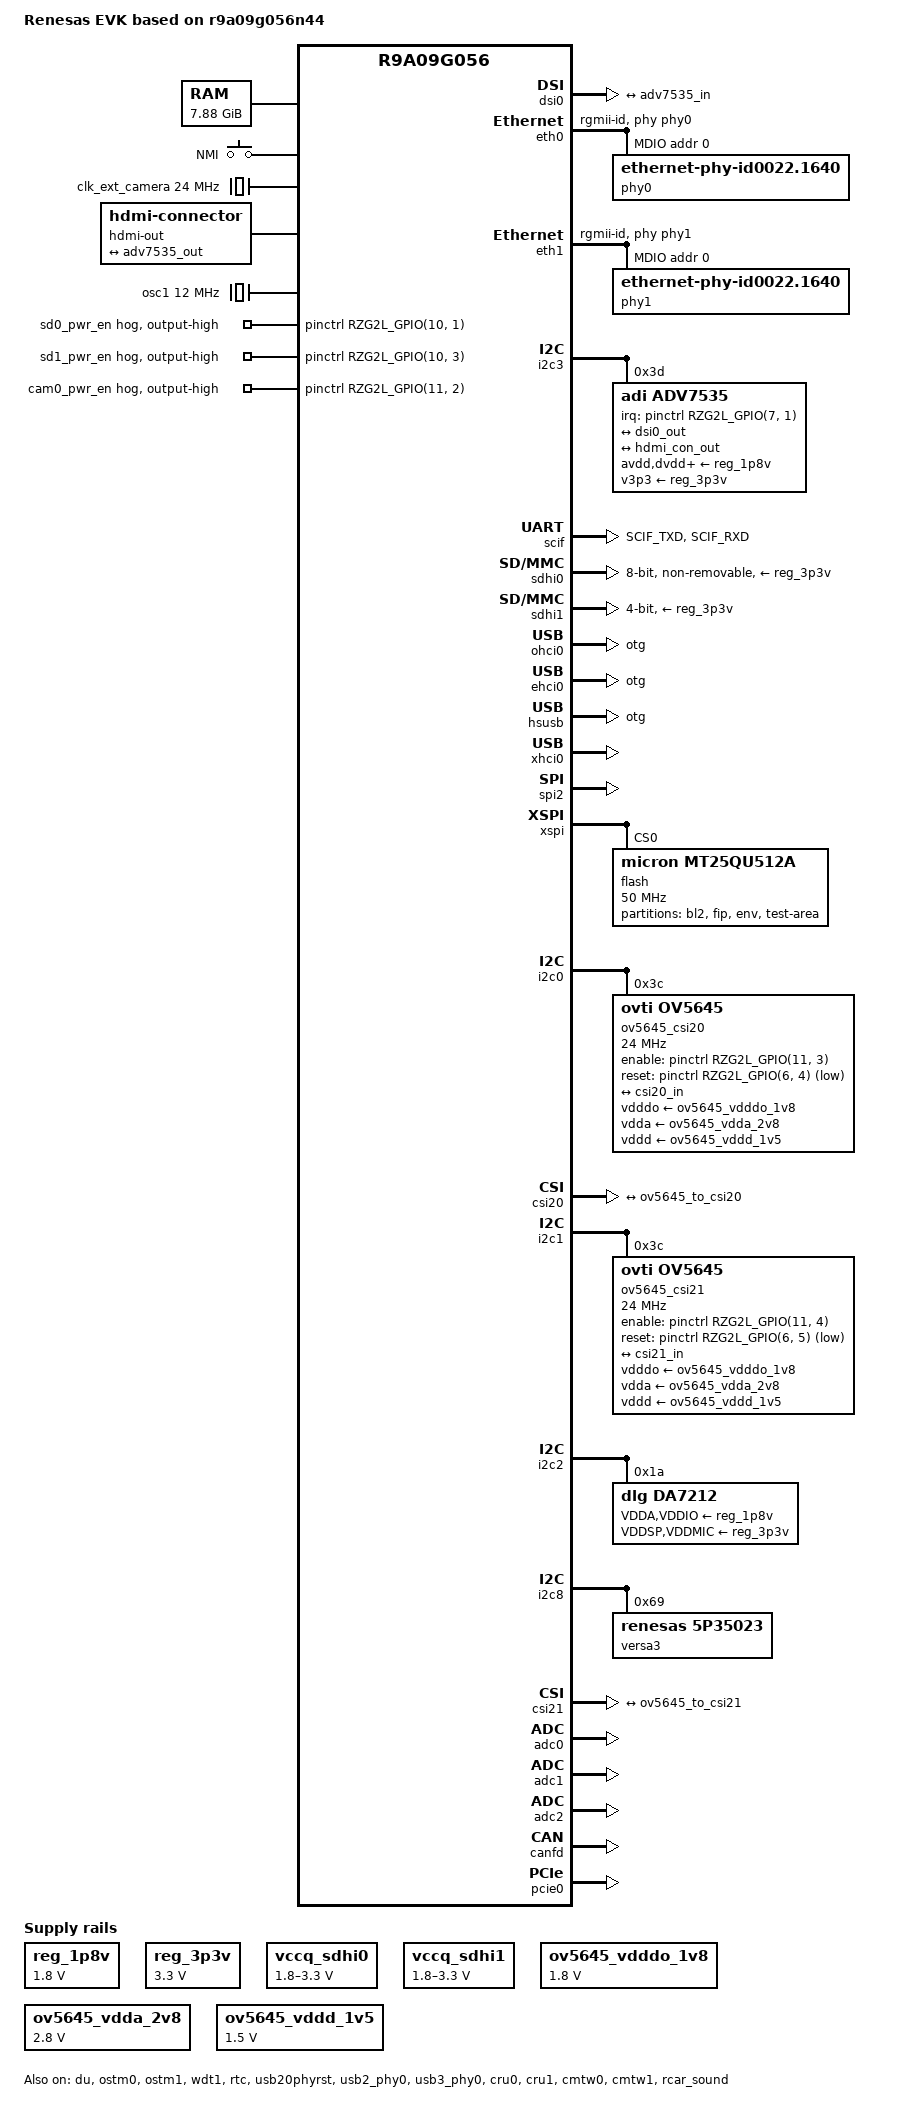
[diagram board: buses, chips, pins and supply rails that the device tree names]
// SPDX-License-Identifier: (GPL-2.0-only OR BSD-2-Clause)
/*
 * Device Tree Source for the RZ/V2N EVK Alpha board
 *
 * Copyright (C) 2024 Renesas Electronics Corp.
 */

/dts-v1/;
#include "r9a09g056.dtsi"
#include <dt-bindings/pinctrl/rzg2l-pinctrl.h>
#include <dt-bindings/gpio/gpio.h>

/*
 * SSI-DA7212
 *
 * These commands are required when Playback/Capture
 *
 *      amixer -q cset name='Aux Switch' on
 *      amixer -q cset name='Mixin Left Aux Left Switch' on
 *      amixer -q cset name='Mixin Right Aux Right Switch' on
 *      amixer -q cset name='ADC Switch' on
 *      amixer -q cset name='Mixout Right Mixin Right Switch' off
 *      amixer -q cset name='Mixout Left Mixin Left Switch' off
 *      amixer -q cset name='Headphone Volume' 70%
 *      amixer -q cset name='Headphone Switch' on
 *      amixer -q cset name='Mixout Left DAC Left Switch' on
 *      amixer -q cset name='Mixout Right DAC Right Switch' on
 *      amixer -q cset name='DAC Left Source MUX' 'DAI Input Left'
 *      amixer -q cset name='DAC Right Source MUX' 'DAI Input Right'
 *      amixer -q sset 'Mic 1 Amp Source MUX' 'MIC_P'
 *      amixer -q sset 'Mic 2 Amp Source MUX' 'MIC_P'
 *      amixer -q sset 'Mixin Left Mic 1' on
 *      amixer -q sset 'Mixin Right Mic 2' on
 *      amixer -q sset 'Mic 1' 90% on
 *      amixer -q sset 'Mic 2' 90% on
 *      amixer -q sset 'Lineout' 80% on
 *      amixer -q set "Headphone" 100% on
 *
 * When Capture, use this command to amplify sound
 *      amixer set 'DVC In',0 100%
 */

/* SD0-eMMC selection
 *
 * CN15 can be connected to SD0 or eMMC sub-board.
 * Please setting the below Macro to the corresponding value depend on
 * the sub-board connected.
 *
 * SEL_SD0: 0: eMMC (default);		1: SD0
 */
#define SEL_SD0		0

/* Select between CAN and SPDIF pins
 * COMMON_PIN_SEL value:
 *	0: CAN		is selected (default)
 *	1: SPDIF	is selected
 */
#define COMMON_PIN_SEL		0
#define CAN_SEL			0
#define SPDIF_SEL		1

/ {
	model = "Renesas EVK based on r9a09g056n44";
	compatible = "renesas,r9a09g056n44-evk", "renesas,r9a09g056n44", "renesas,r9a09g056";

	aliases {
		i2c3 = &i2c3;
		serial0 = &scif;
		mmc0 = &sdhi0;
		mmc1 = &sdhi1;
		ethernet0 = &eth0;
		ethernet1 = &eth1;
	};

	chosen {
		bootargs = "ignore_loglevel";
		stdout-path = "serial0:115200n8";
	};

	memory@48000000 {
		device_type = "memory";
		/* first 128MB is reserved for secure area. */
		reg = <0x0 0x48000000 0x1 0xF8000000>;
	};

	reserved-memory {
		#address-cells = <2>;
		#size-cells = <2>;
		ranges;

		global_cma: linux,cma@58000000 {
			compatible = "shared-dma-pool";
			linux,cma-default;
			reusable;
			reg = <0x0 0x58000000 0x0 0x28000000>;
		};

		mmp_reserved: linux,multimedia {
			compatible = "shared-dma-pool";
			reusable;
			reg = <0x00000000 0x80000000 0x0 0x10000000>;
		};

		isp_reserved: frame_buffer@90000000 {
			compatible = "shared-dma-pool";
			reusable;
			reg = <0x0 0x90000000 0x0 0x18000000>;
		};

		opencva_reserved: OpenCVA@A8000000 {
			reusable;
			reg = <0x0 0xA8000000 0x0 0x7CFF000>;
		};

		shared_drp_reserved: SharedDRP@AFCFF000 {
			reusable;
			reg = <0x0 0xAFCFF000 0x0 0x00001000>;
		};

		drp_codec: DRP-Codec@AFD00000 {
			reusable;
			reg = <0x0 0xAFD00000 0x0 0x300000>;
		};

		image_buf0: image_buf@B0000000 {
			compatible = "shared-dma-pool";
			reusable;
			reg = <0x0 0xB0000000 0x0 0x4000000>;
			label = "image_buf0";
		};

		cru_func: cru_buffer@B4000000 {
			compatible = "shared-dma-pool";
			reusable;
			reg = <0x0 0xB4000000 0x0 0x16400000>;
		};

		drp_reserved: DRP-AI@D0000000 {
			reusable;
			reg = <0x0 0xD0000000 0x0 0x20000000>;
		};
	};

	mmngr {
		compatible = "renesas,mmngr";
		memory-region = <&mmp_reserved>;
	};

	mmngrbuf {
		compatible = "renesas,mmngrbuf";
	};

	vspm_if {
		compatible = "renesas,vspm_if";
	};

       x1_clk: x1-clock {
               compatible = "fixed-clock";
               #clock-cells = <0>;
               clock-frequency = <24000000>;
       };

	reg_1p8v: regulator0 {
		compatible = "regulator-fixed";

		regulator-name = "fixed-1.8V";
		regulator-min-microvolt = <1800000>;
		regulator-max-microvolt = <1800000>;
		regulator-boot-on;
		regulator-always-on;
	};

	reg_3p3v: regulator1 {
		compatible = "regulator-fixed";

		regulator-name = "fixed-3.3V";
		regulator-min-microvolt = <3300000>;
		regulator-max-microvolt = <3300000>;
		regulator-boot-on;
		regulator-always-on;
	};

	vccq_sdhi0: regulator-vccq-sdhi0 {
		compatible = "regulator-gpio";

		regulator-name = "SDHI0 VccQ";
		regulator-min-microvolt = <1800000>;
		regulator-max-microvolt = <3300000>;

		gpios = <&pinctrl RZG2L_GPIO(10, 0) GPIO_ACTIVE_HIGH>;

		gpios-states = <1>;
		states = <3300000 0 1800000 1>;
	};

	vccq_sdhi1: regulator-vccq-sdhi1 {
		compatible = "regulator-gpio";

		regulator-name = "SDHI1 VccQ";
		regulator-min-microvolt = <1800000>;
		regulator-max-microvolt = <3300000>;

		gpios = <&pinctrl RZG2L_GPIO(10, 2) GPIO_ACTIVE_HIGH>;

		gpios-states = <1>;
		states = <3300000 0 1800000 1>;
	};

	gpio-keys {
		compatible = "gpio-keys";
		pinctrl-names = "default";

		nmi {
			interrupt-parent = <&icu>;
			interrupts = <0 IRQ_TYPE_EDGE_FALLING>;
			linux,code = <4>;
			label = "NMI";
			wakeup-source;
		};
	};

	clk_ext_camera: clk_ext_camera {
		compatible = "fixed-clock";
		#clock-cells = <0>;
		clock-frequency = <24000000>;
	};

	ov5645_vdddo_1v8: 1p8v {
		compatible = "regulator-fixed";
		regulator-name = "camera_vdddo";
		regulator-min-microvolt = <1800000>;
		regulator-max-microvolt = <1800000>;
		regulator-always-on;
	};

	ov5645_vdda_2v8: 2p8v {
		compatible = "regulator-fixed";
		regulator-name = "camera_vdda";
		regulator-min-microvolt = <2800000>;
		regulator-max-microvolt = <2800000>;
		regulator-always-on;
	};

	ov5645_vddd_1v5: 1p5v {
		compatible = "regulator-fixed";
		regulator-name = "camera_vddd";
		regulator-min-microvolt = <1500000>;
		regulator-max-microvolt = <1500000>;
		regulator-always-on;
	};

	hdmi-out {
		compatible = "hdmi-connector";
		type = "d";

		port {
			hdmi_con_out: endpoint {
				remote-endpoint = <&adv7535_out>;
			};
		};
	};

	osc1: cec-clock {
		compatible = "fixed-clock";
		#clock-cells = <0>;
		clock-frequency = <12000000>;
	};

#if (COMMON_PIN_SEL == SPDIF_SEL)
	codec_test0: codec_test {
		compatible = "linux,snd-soc-dummy";
		#sound-dai-cells = <0>;
	};

	codec_test1: codec_test {
		compatible = "linux,snd-soc-dummy";
		#sound-dai-cells = <0>;
	};
#endif

	snd_rzv2n: sound {
		#address-cells = <1>;
		#size-cells = <0>;
		compatible = "simple-audio-card";
		simple-audio-card,name = "rsnd_rzv2n";
		status="okay";

		ssi_link: simple-audio-card,dai-link@0 {
			format = "i2s";
			reg = <0>;
			bitclock-master = <&cpu_dai0>;
			frame-master = <&cpu_dai0>;
			mclk-fs = <256>;

			cpu_dai0: cpu {
				sound-dai = <&rcar_sound 0>;
			};

			codec {
				sound-dai = <&da7212>;
				clocks = <&rcar_sound>;
			};
		};

#if (COMMON_PIN_SEL == SPDIF_SEL)
		spdif_link0: simple-audio-card,dai-link@1 {
			reg = <1>;
			bitclock-master = <&cpu_dai1>;
			frame-master = <&cpu_dai1>;

			cpu_dai1: cpu {
				sound-dai = <&rcar_sound 1>;
			};

			codec {
				sound-dai = <&codec_test0>;
			};
		};

		spdif_link1: simple-audio-card,dai-link@2 {
			reg = <1>;
			bitclock-master = <&cpu_dai2>;
			frame-master = <&cpu_dai2>;

			cpu_dai2: cpu {
				sound-dai = <&rcar_sound 2>;
			};

			codec {
				sound-dai = <&codec_test1>;
			};
		};
#endif
	};
};

&du {
	status = "okay";
};

&dsi0 {
	status = "okay";

	ports {
		port@1 {
			dsi0_out: endpoint {
				remote-endpoint = <&adv7535_in>;
				data-lanes = <1 2 3 4>;
			};
		};
	};
};

&eth0 {
	phy-handle = <&phy0>;
	phy-mode = "rgmii-id";
	status = "okay";

	mdio {
		#address-cells = <1>;
		#size-cells = <0>;
		phy0: ethernet-phy@0 {
			compatible = "ethernet-phy-id0022.1640",
				     "ethernet-phy-ieee802.3-c22";
			reg = <0>;
			rxc-skew-psec = <1400>;
			txc-skew-psec = <1400>;
			rxdv-skew-psec = <0>;
			txdv-skew-psec = <0>;
			rxd0-skew-psec = <0>;
			rxd1-skew-psec = <0>;
			rxd2-skew-psec = <0>;
			rxd3-skew-psec = <0>;
			txd0-skew-psec = <0>;
			txd1-skew-psec = <0>;
			txd2-skew-psec = <0>;
			txd3-skew-psec = <0>;
		};
	};
};

&eth1 {
	phy-handle = <&phy1>;
	phy-mode = "rgmii-id";
	status = "okay";

	mdio {
		#address-cells = <1>;
		#size-cells = <0>;
		phy1: ethernet-phy@0 {
			compatible = "ethernet-phy-id0022.1640",
				     "ethernet-phy-ieee802.3-c22";
			reg = <0>;
			rxc-skew-psec = <1400>;
			txc-skew-psec = <1400>;
			rxdv-skew-psec = <0>;
			txdv-skew-psec = <0>;
			rxd0-skew-psec = <0>;
			rxd1-skew-psec = <0>;
			rxd2-skew-psec = <0>;
			rxd3-skew-psec = <0>;
			txd0-skew-psec = <0>;
			txd1-skew-psec = <0>;
			txd2-skew-psec = <0>;
			txd3-skew-psec = <0>;
		};
	};
};

&i2c3 {
	pinctrl-0 = <&i2c3_pins>;
	pinctrl-names = "default";

	status = "okay";

	adv7535: hdmi@3d {
		compatible = "adi,adv7535";
		reg = <0x3d>;

		clocks = <&osc1>;
		clock-names = "cec";
		avdd-supply = <&reg_1p8v>;
		dvdd-supply = <&reg_1p8v>;
		pvdd-supply = <&reg_1p8v>;
		a2vdd-supply = <&reg_1p8v>;
		v3p3-supply = <&reg_3p3v>;
		v1p2-supply = <&reg_1p8v>;

		interrupt-parent = <&pinctrl>;
		interrupts = <RZG2L_GPIO(7, 1) IRQ_TYPE_LEVEL_LOW>;

		adi,dsi-lanes = <4>;

		ports {
			#address-cells = <1>;
			#size-cells = <0>;

			port@0 {
				reg = <0>;
				adv7535_in: endpoint@0 {
					remote-endpoint = <&dsi0_out>;
				};
			};

			port@1 {
				reg = <1>;
				adv7535_out: endpoint@1 {
				remote-endpoint = <&hdmi_con_out>;
				};
			};
		};
	};
};

&audio_clka {
	clock-frequency = <22579200>;
};

&audio_clkb {
	clock-frequency = <24576000>;
};

&audio_clkc {
	clock-frequency = <22579200>;
};

&pinctrl {
	i2c3_pins: i2c3 {
		pinmux = <RZG2L_PORT_PINMUX(3, 6, 1)>, /* I2C3_SDA */
			 <RZG2L_PORT_PINMUX(3, 7, 1)>; /* I2C3_SCL */
	};

	scif0_pins: scif0 {
		pins =  "SCIF_TXD", "SCIF_RXD";
		renesas,output-impedance = <1>;
	};

	sd0_pwr_en {
		gpio-hog;
		gpios = <RZG2L_GPIO(10, 1) GPIO_ACTIVE_HIGH>;
		output-high;
		line-name = "sd0_pwr_en";
	};

	sd1_pwr_en {
		gpio-hog;
		gpios = <RZG2L_GPIO(10, 3) GPIO_ACTIVE_HIGH>;
		output-high;
		line-name = "sd1_pwr_en";
	};

#if (SEL_SD0)
	/* Support pinctrl for SD function of SDHI0 */
	sdhi0_pins: sd0 {
		sd0_mux {
			pinmux = <RZG2L_PORT_PINMUX(10, 5, 15)>; /* SD0_CD */
		};
	};
#endif

	/* Support pinctrl for SD function of SDHI1 */
	sdhi1_pins: sd1 {
		sd1_mux {
			pinmux = <RZG2L_PORT_PINMUX(9, 4, 14)>; /* SD1_CD */
		};
	};

	usb20_pins: usb20 {
		pinmux = <RZG2L_PORT_PINMUX(9, 5, 14)>, /* VBUS */
			 <RZG2L_PORT_PINMUX(9, 6, 14)>; /* OVC */
	};

	usb30_pins: usb30 {
		pinmux = <RZG2L_PORT_PINMUX(11, 0, 14)>, /* VBUS */
			 <RZG2L_PORT_PINMUX(11, 1, 14)>; /* OVC */
	};

	i2c0_pins: i2c0 {
		pinmux = <RZG2L_PORT_PINMUX(3, 0, 1)>, /* I2C0_SDA */
			 <RZG2L_PORT_PINMUX(3, 1, 1)>; /* I2C0_SCL */
	};

	i2c1_pins: i2c1 {
		pinmux = <RZG2L_PORT_PINMUX(3, 2, 1)>, /* I2C1_SDA */
			 <RZG2L_PORT_PINMUX(3, 3, 1)>; /* I2C1_SCL */
	};

	i2c2_pins: i2c2 {
		pinmux = <RZG2L_PORT_PINMUX(2, 0, 4)>, /* I2C2_SDA */
			 <RZG2L_PORT_PINMUX(2, 1, 4)>; /* I2C2_SCL */
	};

       i2c8_pins: i2c8 {
               pinmux = <RZG2L_PORT_PINMUX(0, 6, 1)>, /* I2C8_SDA */
                        <RZG2L_PORT_PINMUX(0, 7, 1)>; /* I2C8_SCL */
       };

	spi2_pins: spi2 {
		pinmux = <RZG2L_PORT_PINMUX(11, 3, 5)>, /* MISO */
			 <RZG2L_PORT_PINMUX(11, 4, 5)>, /* MOSI */
			 <RZG2L_PORT_PINMUX(10, 7, 5)>, /* SSL */
			 <RZG2L_PORT_PINMUX(11, 5, 5)>; /* RSPCK */
	};

	/* cam0_pwr_en is used by Google Coral Camera from CSI20 and CSI21 */
	cam0_pwr_en {
		gpio-hog;
		gpios = <RZG2L_GPIO(11, 2) GPIO_ACTIVE_HIGH>;
		output-high;
		line-name = "cam0_pwr_en";
	};

#if (COMMON_PIN_SEL == SPDIF_SEL)
	spdif0_pins: spdif0 {
		pinmux = <RZG2L_PORT_PINMUX(8, 0, 8)>, /* SPDIF0_OUT */
			 <RZG2L_PORT_PINMUX(8, 1, 8)>; /* SPDIF0_IN */
	};

	spdif2_pins: spdif2 {
		pinmux = <RZG2L_PORT_PINMUX(8, 2, 8)>, /* SPDIF2_OUT */
			 <RZG2L_PORT_PINMUX(8, 3, 8)>; /* SPDIF2_IN */
	};
#endif

	sound_clk_pins: sound_clk {
		pinmux = <RZG2L_PORT_PINMUX(1, 0, 7)>, /* AUDIO_CLKB */
			 <RZG2L_PORT_PINMUX(1, 1, 7)>, /* AUDIO_CLKC */
			 <RZG2L_PORT_PINMUX(9, 7, 8)>; /* AUDIO_CLKOUT */
	};

	sound_pins: sound {
		pinmux = <RZG2L_PORT_PINMUX(1, 2, 7)>, /* SSI3_SCK */
			 <RZG2L_PORT_PINMUX(1, 3, 7)>, /* SSI3_WS */
			 <RZG2L_PORT_PINMUX(0, 4, 7)>, /* SSI3_SDATA */
			 <RZG2L_PORT_PINMUX(1, 5, 7)>; /* SSI4_SDATA */
	};

	/* Support pinctrl for CANFD */
#if (COMMON_PIN_SEL == CAN_SEL)

	can0_pins: can0 {
		pinmux = <RZG2L_PORT_PINMUX(8, 0, 5)>, /* TX */
			 <RZG2L_PORT_PINMUX(8, 1, 5)>; /* RX */
	};

	can1_pins: can1 {
		pinmux = <RZG2L_PORT_PINMUX(8, 2, 5)>, /* TX */
			 <RZG2L_PORT_PINMUX(8, 3, 5)>; /* RX */
	};

	can2_pins: can2 {
		pinmux = <RZG2L_PORT_PINMUX(8, 4, 5)>, /* TX */
			 <RZG2L_PORT_PINMUX(8, 5, 5)>; /* RX */
	};

	can3_pins: can3 {
		pinmux = <RZG2L_PORT_PINMUX(8, 6, 5)>, /* TX */
			 <RZG2L_PORT_PINMUX(8, 7, 5)>; /* RX */
	};
#endif
};

&qextal_clk {
	clock-frequency = <24000000>;
};

&scif {
	pinctrl-0 = <&scif0_pins>;
	pinctrl-names = "default";

	status = "okay";
};

&ostm0 {
	status = "okay";
};

&ostm1 {
	status = "okay";
};

&wdt1 {
	status = "okay";
};

#if (!SEL_SD0)
&sdhi0 {
	vmmc-supply = <&reg_3p3v>;
	vqmmc-supply = <&reg_1p8v>;
	bus-width = <8>;
	mmc-hs200-1_8v;
	non-removable;
	fixed-emmc-driver-type = <1>;
	status = "okay";
};
#else
&sdhi0 {
	pinctrl-0 = <&sdhi0_pins>;
	pinctrl-names = "default";

	vmmc-supply = <&reg_3p3v>;
	vqmmc-supply = <&vccq_sdhi0>;

	bus-width = <4>;
	sd-uhs-sdr50;
	sd-uhs-sdr104;
	status = "okay";
};
#endif

&sdhi1 {
	pinctrl-0 = <&sdhi1_pins>;
	pinctrl-names = "default";

	vmmc-supply = <&reg_3p3v>;
	vqmmc-supply = <&vccq_sdhi1>;
	bus-width = <4>;
	sd-uhs-sdr50;
	sd-uhs-sdr104;
	status = "okay";
};

&rtc {
        status = "okay";
};

&ohci0 {
	memory-region = <&global_cma>;
	dr_mode = "otg";
	status = "okay";
};

&ehci0 {
	memory-region = <&global_cma>;
	dr_mode = "otg";
	status = "okay";
};

&hsusb {
	dr_mode = "otg";
	status = "okay";
};

&usb20phyrst {
	status = "okay";
};

&usb2_phy0 {
	pinctrl-0 = <&usb20_pins>;
	pinctrl-names = "default";
	status = "okay";
};

&usb3_phy0 {
	status = "okay";
};

&xhci0 {
	pinctrl-0 = <&usb30_pins>;
	pinctrl-names = "default";
	memory-region = <&global_cma>;
	status = "okay";
};

&spi2 {
	pinctrl-0 = <&spi2_pins>;
	pinctrl-names = "default";

	status = "okay";
};

&xspi {
	status = "okay";

	flash@0 {
		compatible = "micron,mt25qu512a", "jedec,spi-nor";
		reg = <0>;
		m25p,fast-read;
		spi-max-frequency = <50000000>;
		spi-tx-bus-width = <4>;
		spi-rx-bus-width = <4>;

		partitions {
			compatible = "fixed-partitions";
			#address-cells = <1>;
			#size-cells = <1>;

			partition@0 {
				label = "bl2";
				reg = <0x00000000 0x0001D200>;
				read-only;
			};

			partition@1D200 {
				label = "fip";
				reg = <0x0001D200 0x001C2E00>;
				read-only;
			};

			partition@1E0000 {
				label = "env";
				reg = <0x001E0000 0x00020000>;
				read-only;
			};

			partition@200000 {
				label = "test-area";
				reg = <0x00200000 0x00E00000>;
			};
		};
	};
};

&i2c0 {
	pinctrl-0 = <&i2c0_pins>;
	pinctrl-names = "default";

	status = "okay";

	ov5645_csi20: ov5645_csi20@3c {
		compatible = "ovti,ov5645";
		reg = <0x3c>;
		clock-names = "xclk";
		clocks = <&clk_ext_camera>;
		clock-frequency = <24000000>;
		vdddo-supply = <&ov5645_vdddo_1v8>;
		vdda-supply = <&ov5645_vdda_2v8>;
		vddd-supply = <&ov5645_vddd_1v5>;
		enable-gpios = <&pinctrl RZG2L_GPIO(11, 3) GPIO_ACTIVE_HIGH>;
		/* Dummy pin for reset-gpios */
		reset-gpios = <&pinctrl RZG2L_GPIO(6, 4) GPIO_ACTIVE_LOW>;

		port {
			ov5645_to_csi20: endpoint {
				clock-lanes = <0>;
				data-lanes = <1 2>;
				remote-endpoint = <&csi20_in>;
			};
		};
	};
};

&cru0 {
	status = "okay";
};

&csi20 {
	status = "okay";

	ports {
		port {
			csi20_in: endpoint {
				clock-lanes = <0>;
				data-lanes = <1 2>;
				remote-endpoint = <&ov5645_to_csi20>;
			};
		};
	};
};

&i2c1 {
	pinctrl-0 = <&i2c1_pins>;
	pinctrl-names = "default";

	status = "okay";

	ov5645_csi21: ov5645_csi21@3c {
		compatible = "ovti,ov5645";
		reg = <0x3c>;
		clock-names = "xclk";
		clocks = <&clk_ext_camera>;
		clock-frequency = <24000000>;
		vdddo-supply = <&ov5645_vdddo_1v8>;
		vdda-supply = <&ov5645_vdda_2v8>;
		vddd-supply = <&ov5645_vddd_1v5>;
		enable-gpios = <&pinctrl RZG2L_GPIO(11, 4) GPIO_ACTIVE_HIGH>;
		/* Dummy pin for reset-gpios */
		reset-gpios = <&pinctrl RZG2L_GPIO(6, 5) GPIO_ACTIVE_LOW>;

		port {
			ov5645_to_csi21: endpoint {
				clock-lanes = <0>;
				data-lanes = <1 2>;
				remote-endpoint = <&csi21_in>;
			};
		};
	};
};

&i2c2 {
	pinctrl-0 = <&i2c2_pins>;
	pinctrl-names = "default";

	status = "okay";

	da7212: codec@1a {
		compatible = "dlg,da7212";
		#sound-dai-cells = <0>;
		#address-cells = <1>;
		#size-cells = <0>;
		reg = <0x1a>;

		clocks = <&rcar_sound>;
		clock-names = "mclk";

		dlg,micbias1-lvl = <2500>;
		dlg,micbias2-lvl = <2500>;
		dlg,dmic-data-sel = "lrise_rfall";
		dlg,dmic-samplephase = "between_clkedge";
		dlg,dmic-clkrate = <3000000>;

		VDDA-supply = <&reg_1p8v>;
		VDDSP-supply = <&reg_3p3v>;
		VDDMIC-supply = <&reg_3p3v>;
		VDDIO-supply = <&reg_1p8v>;
	};
};

&i2c8 {
       pinctrl-0 = <&i2c8_pins>;
       pinctrl-names = "default";

       status = "okay";

       versa3: versa3@69 {
               compatible = "renesas,5p35023";
               reg = <0x69>;
               #clock-cells = <1>;
               clocks = <&x1_clk>;
               clock-names = "x1";
               assigned-clocks = <&versa3 5>,
                                 <&versa3 4>,
                                 <&versa3 3>,
                                 <&versa3 2>,
                                 <&versa3 1>,
                                 <&versa3 0>;
               assigned-clock-rates =  <100000000>, <100000000>,
                                       <22579200>, <32768>,
                                       <24576000>, <24000000>;
               clock-divider-read-only = <1>, <1>, <1>, <1>, <1>;
               clock-flags = <2176>, <2176>, <2176>, <2052>, <2176>, <2048>;
       };
};

&cru1 {
	status = "okay";
};

&csi21 {
	status = "okay";

	ports {
		port {
			csi21_in: endpoint {
				clock-lanes = <0>;
				data-lanes = <1 2>;
				remote-endpoint = <&ov5645_to_csi21>;
			};
		};
	};
};

&adc0 {
	status = "okay";
};

&adc1 {
	status = "okay";
};

&adc2 {
	status = "okay";
};

&cmtw0 {
	status = "okay";
};

&cmtw1 {
	status = "okay";
};

&rcar_sound {
#if (COMMON_PIN_SEL == SPDIF_SEL)
	pinctrl-0 = <&sound_clk_pins &sound_pins &spdif0_pins &spdif2_pins>;
#else
	pinctrl-0 = <&sound_clk_pins &sound_pins>;
#endif
	pinctrl-names = "default";

	status = "okay";

	/* audio_clkout */
	#clock-cells = <0>;
	clock-frequency = <11289600>;

	/* Multi DAI */
	#sound-dai-cells = <1>;

	rcar_sound,dai {
		dai0 {
			playback = <&ssi3>;
			capture  = <&ssi4 &src0 &dvc0>;
		};

#if (COMMON_PIN_SEL == SPDIF_SEL)
		dai1 {
			playback = <&spdif0>;
			capture  = <&spdif0>;
		};

		dai2 {
			playback = <&spdif2>;
			capture  = <&spdif2>;
		};
#endif
	};
};

&ssi4 {
	shared-pin;
};

#if (COMMON_PIN_SEL == CAN_SEL)
&canfd {
	pinctrl-0 = <&can0_pins &can1_pins &can2_pins &can3_pins>;
	pinctrl-names = "default";
	status = "okay";

	channel0 {
		status = "okay";
	};

	channel1 {
		status = "okay";
	};

	channel2 {
		status = "okay";
	};

	channel3 {
		status = "okay";
	};
};
#endif

&pcie0 {
	/* Map all possible DDR as inbound ranges */
	dma-ranges = <0x42000000 0 0x40000000 0 0x40000000 0x2 0x00000000>;

	status = "okay";
};
